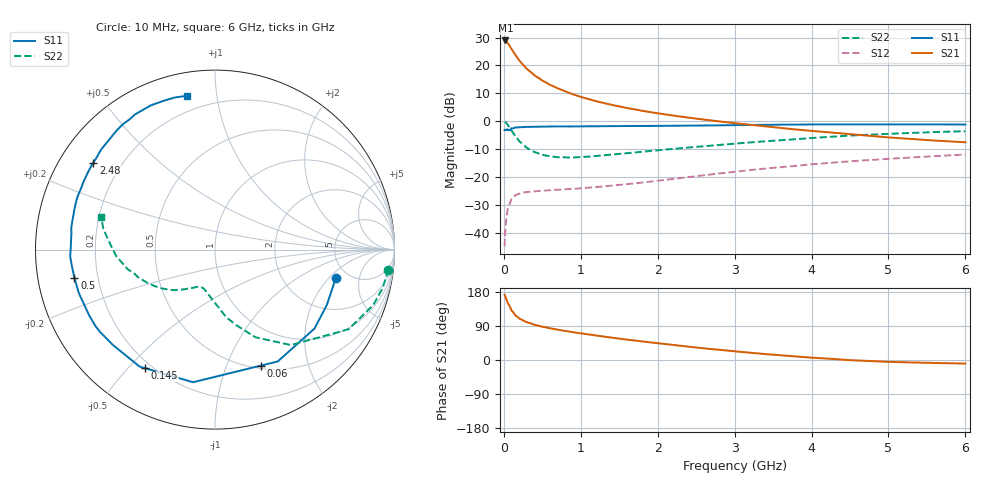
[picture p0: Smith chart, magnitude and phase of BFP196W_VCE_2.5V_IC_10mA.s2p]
! Infineon Technologies  Discrete & RF Semiconductors
! BFP196W
! VCE = 2.5 V,  IC =  10mA
! Common Emitter S-Parameters:  Jan 2016
# GHz  S  MA  R  50
!  f  S11  S21  S12  S22
! GHz  MAG  ANG  MAG  ANG  MAG  ANG  MAG  ANG
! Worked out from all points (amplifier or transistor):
!   210 points, 10 MHz to 6 GHz, reference 50 ohm
!   highest |S21| = 29.0 dB at 20 MHz (marker M1)
!   |S21| within 3 dB of that: start of sweep to 98.97 MHz
!   unconditionally stable (mu >= 1): 1.166 GHz to 3.296 GHz
!   at 185 MHz: K = 0.21, MSG = 24.3 dB, |S12| = -26.2 dB
!   at 1.52 GHz: K = 1.13, MAG = 11.8 dB, |S12| = -22.8 dB
!   at 6 GHz: K = 0.95, MSG = 2.2 dB, |S12| = -12.0 dB
!   S11 on the Smith chart (normalised r, x): 10 MHz: 4.00, -2.38; 60 MHz: 0.53, -1.33; 145 MHz: 0.17, -0.56; 500 MHz: 0.11, -0.10; 2.48 GHz: 0.10, +0.32; 6 GHz: 0.12, +0.83
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0.01  0.6916 -13.0  28.02 172.2  0.0057 82.7  0.9726 -6.6
0.02  0.6952 -26.2  28.15 167.6  0.0117 77.3  0.9581 -13.0
0.03  0.7078 -38.4  27.5 161.8  0.0169 73.8  0.9344 -19.3
0.05  0.7145 -60.7  25.57 150.6  0.026 63.3  0.8665 -30.8
0.06  0.6948 -68.4  24.23 147.4  0.0286 58.5  0.8218 -34.2
0.1  0.749 -99.4  19.84 130.8  0.0401 45.8  0.6796 -51.5
0.145  0.7672 -120.6  15.88 119.5  0.0463 36.8  0.5506 -63.5
0.15  0.7754 -122.8  15.48 117.9  0.047 35.9  0.5382 -65.2
0.2  0.7784 -136.9  12.32 109.8  0.05 30.3  0.4399 -74.0
0.26  0.7909 -147.4  9.92 103.3  0.0525 26.7  0.3701 -81.6
0.3  0.7909 -152.6  8.652 99.7  0.0535 25.3  0.3307 -85.4
0.4  0.7964 -162.2  6.64 92.9  0.0551 23.6  0.2787 -93.3
0.5  0.7989 -168.7  5.375 87.8  0.0565 23.5  0.2496 -98.9
0.7  0.8079 -177.4  3.895 79.9  0.0587 25.4  0.2253 -106.2
1.02  0.8051 173.5  2.68 69.7  0.0627 30.0  0.2274 -114.5
1.4  0.8143 164.6  1.967 59.0  0.0694 36.0  0.2504 -121.2
2.02  0.8246 152.6  1.373 43.9  0.0858 44.2  0.3015 -131.8
2.48  0.8327 144.4  1.121 33.5  0.1021 47.1  0.3445 -139.8
3.1  0.8506 134.0  0.892 21.1  0.1281 47.7  0.4054 -151.2
4.1  0.8751 119.3  0.652 5.0  0.1725 43.5  0.5087 -169.3
5.1  0.8766 108.1  0.5 -5.5  0.215 36.4  0.5998 174.4
6  0.8713 100.3  0.418 -9.4  0.252 29.8  0.661 163.9
